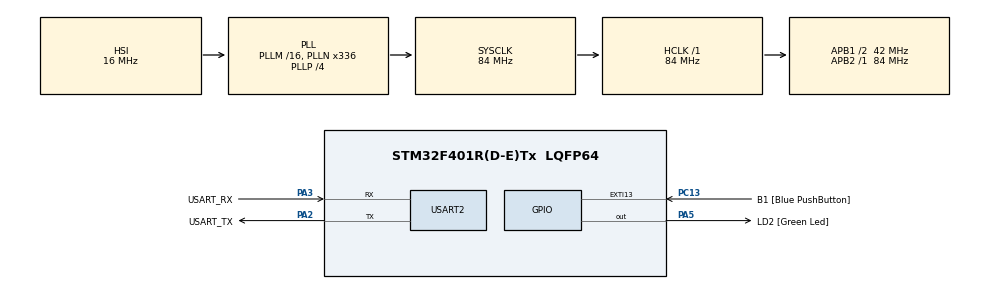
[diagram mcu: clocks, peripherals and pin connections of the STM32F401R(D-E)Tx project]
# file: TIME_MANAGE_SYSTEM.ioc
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Mcu.Family=STM32F4
Mcu.Name=STM32F401R(D-E)Tx
Mcu.Package=LQFP64
NVIC.PriorityGroup=NVIC_PRIORITYGROUP_0
PA13.GPIO_Label=TMS
PA13.Mode=Serial_Wire
PA13.Signal=SYS_JTMS-SWDIO
PA14.Mode=Serial_Wire
PA14.Signal=SYS_JTCK-SWCLK
PA2.GPIO_Label=USART_TX
PA2.GPIO_Mode=GPIO_MODE_AF_PP
PA2.GPIO_PuPd=GPIO_NOPULL
PA2.GPIO_Speed=GPIO_SPEED_FREQ_LOW
PA2.Mode=Asynchronous
PA2.Signal=USART2_TX
PA3.GPIO_Label=USART_RX
PA3.GPIO_Mode=GPIO_MODE_AF_PP
PA3.GPIO_PuPd=GPIO_NOPULL
PA3.GPIO_Speed=GPIO_SPEED_FREQ_LOW
PA3.Mode=Asynchronous
PA3.Signal=USART2_RX
PA5.GPIO_Label=LD2 [Green Led]
PA5.GPIO_Mode=GPIO_MODE_OUTPUT_PP
PA5.GPIO_PuPd=GPIO_NOPULL
PA5.GPIO_Speed=GPIO_SPEED_FREQ_LOW
PA5.Signal=GPIO_Output
PB3.GPIO_Label=SWO
PB3.Signal=SYS_JTDO-SWO
PC13-ANTI_TAMP.GPIO_Label=B1 [Blue PushButton]
PC13-ANTI_TAMP.GPIO_ModeDefaultEXTI=GPIO_MODE_IT_FALLING
PC13-ANTI_TAMP.GPIO_PuPd=GPIO_NOPULL
PC13-ANTI_TAMP.Signal=GPXTI13
PC14-OSC32_IN.Mode=LSE-External-Oscillator
PC14-OSC32_IN.Signal=RCC_OSC32_IN
PC15-OSC32_OUT.Mode=LSE-External-Oscillator
PC15-OSC32_OUT.Signal=RCC_OSC32_OUT
PH0\ -\ OSC_IN.Mode=HSE-External-Clock-Source
PH0\ -\ OSC_IN.Signal=RCC_OSC_IN
PH1\ -\ OSC_OUT.Mode=HSE-External-Clock-Source
PH1\ -\ OSC_OUT.Signal=RCC_OSC_OUT
ProjectManager.HeapSize=0x200
ProjectManager.StackSize=0x400
ProjectManager.TargetToolchain=STM32CubeIDE
RCC.48MHZClocksFreq_Value=48000000
RCC.AHBFreq_Value=84000000
RCC.APB1CLKDivider=RCC_HCLK_DIV2
RCC.APB1Freq_Value=42000000
RCC.APB1TimFreq_Value=84000000
RCC.APB2Freq_Value=84000000
RCC.APB2TimFreq_Value=84000000
RCC.CortexFreq_Value=84000000
RCC.HCLKFreq_Value=84000000
RCC.HSE_VALUE=8000000
RCC.HSI_VALUE=16000000
RCC.PLLN=336
RCC.PLLP=RCC_PLLP_DIV4
RCC.PLLQ=7
RCC.SYSCLKFreq_VALUE=84000000
RCC.SYSCLKSource=RCC_SYSCLKSOURCE_PLLCLK
RCC.VCOOutputFreq_Value=336000000
USART2.VirtualMode=VM_ASYNC
board=NUCLEO-F401RE

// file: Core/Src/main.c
/* USER CODE BEGIN Header */
/**
  ******************************************************************************
  * @file           : main.c
  * @brief          : Main program body
  ******************************************************************************
  * @attention
  *
  * Copyright (c) 2022 STMicroelectronics.
  * All rights reserved.
  *
  * This software is licensed under terms that can be found in the LICENSE file
  * in the root directory of this software component.
  * If no LICENSE file comes with this software, it is provided AS-IS.
  *
  ******************************************************************************
  */
/* USER CODE END Header */
#define STM32F401xE
#include "stdbool.h"
#include "main.h"

/* USER CODE BEGIN Includes */
#include "KEYPAD.h"
#include "rc522.h"

/* USER CODE END Includes */
#define LCD_PORT	GPIOB
#define LCD_DATA	GPIOA
#define LCD_ENA	GPIO_PIN_15
#define LCD_RST	GPIO_PIN_14
#define LCD_D4	GPIO_PIN_8
#define LCD_D5	GPIO_PIN_9
#define LCD_D6	GPIO_PIN_10
#define LCD_D7	GPIO_PIN_11
#define MAXLENGTH 6
/* USER CODE BEGIN PD */
#define FLASH_USER_START_ADDR 0x08012000
/* USER CODE END PD */

/* Base address of the Flash sectors */
#define ADDR_FLASH_SECTOR_0    ((uint32_t)0x08000000) /* Base @ of Sector 0, 16 Kbytes */
#define ADDR_FLASH_SECTOR_1    ((uint32_t)0x08004000) /* Base @ of Sector 1, 16 Kbytes */
#define ADDR_FLASH_SECTOR_2    ((uint32_t)0x08008000) /* Base @ of Sector 2, 16 Kbytes */
#define ADDR_FLASH_SECTOR_3    ((uint32_t)0x0800C000) /* Base @ of Sector 3, 16 Kbytes */
#define ADDR_FLASH_SECTOR_4    ((uint32_t)0x08010000) /* Base @ of Sector 4, 64 Kbytes */
#define ADDR_FLASH_SECTOR_5    ((uint32_t)0x08020000) /* Base @ of Sector 5, 128 Kbytes */
#define ADDR_FLASH_SECTOR_6    ((uint32_t)0x08040000) /* Base @ of Sector 6, 128 Kbytes */
#define ADDR_FLASH_SECTOR_7    ((uint32_t)0x08060000) /* Base @ of Sector 7, 128 Kbytes */
/* USER CODE BEGIN PTD */
char Key;
char DATA[MAXLENGTH+1];
char PASSWORD[6]={'0','0','0','0','0','0'};
int length = 0;
bool state = false;
int PassErr = 0;
uint32_t cardPASS[6] = {1,2,3,4,5,6};
uint32_t cardRx[6];
/* USER CODE END PTD */

UART_HandleTypeDef huart2;

/* USER CODE BEGIN PV */
void LCD_Enable()
{
    HAL_GPIO_WritePin(LCD_PORT,LCD_ENA,1);
    HAL_Delay(1);
    HAL_GPIO_WritePin(LCD_PORT,LCD_ENA,0);
    HAL_Delay(1);
}

void LCD_Send4Bit(unsigned char Data)
{
    HAL_GPIO_WritePin(LCD_DATA,LCD_D4,Data&0x01);
    HAL_GPIO_WritePin(LCD_DATA,LCD_D5,(Data>>1)&0x01);
    HAL_GPIO_WritePin(LCD_DATA,LCD_D6,(Data>>2)&0x01);
    HAL_GPIO_WritePin(LCD_DATA,LCD_D7,(Data>>3)&0x01);
}

void LCD_SendCommand(unsigned char command)
{
    LCD_Send4Bit(command >>4);
    LCD_Enable();
    LCD_Send4Bit(command);
    LCD_Enable();
}

void LCD_Clear()
{
    LCD_SendCommand(0x01);
    HAL_Delay(1);
}

void LCD_Init()
{
    LCD_Send4Bit(0x00);
    HAL_GPIO_WritePin(LCD_PORT,LCD_RST,0);
    LCD_Send4Bit(0x03);
    LCD_Enable();
    LCD_Enable();
    LCD_Enable();
    LCD_Send4Bit(0x02);
    LCD_Enable();
    LCD_SendCommand(0x28);
    LCD_SendCommand(0x0C);
    LCD_SendCommand(0x06);
    LCD_SendCommand(0x01);
}

void LCD_Gotoxy(unsigned char x, unsigned char y)
{
unsigned char address;
if(y==0)
address=0x80;
else if(y==1)
{
address=0xc0;
}
else if(y==2)
{
address=0x94;
}
else
address=0xd4;
address+=x;
LCD_SendCommand(address);
}

void LCD_PutChar(unsigned char Data)
{
  HAL_GPIO_WritePin(LCD_PORT,LCD_RST,1);
     LCD_SendCommand(Data);
  HAL_GPIO_WritePin(LCD_PORT,LCD_RST,0);
}

void LCD_Puts(char *s)
{
       while (*s){
          LCD_PutChar(*s);
         s++;
       }
}

KEYPAD_Name KeyPad;
char KEYMAP[NUMROWS][NUMCOLS]={
    {'1','2','3','A'},
    {'4','5','6','B'},
    {'7','8','9','C'},
    {'*','0','#','D'},
};

uint16_t CheckPassWord (char DATA[MAXLENGTH],char PASS[MAXLENGTH]){
    if (length!=6) return 0;
    for (int i=0;i<MAXLENGTH;i++){
        if (DATA[i] != PASS[i]) return 0;
    }
    return 1;
}

uint16_t ClearPassWord (){
    for (int i=0;i<MAXLENGTH;i++){
        DATA[i] = -1;
    }
    length = 0;
}
uint8_t  str[5];
int card[100]={536874093,536874735};
int cardNum;

int converCardNum(uint8_t* CardID){
    int cardNum;
    for (int i = 0; i < 5; i++) {
            cardNum+=CardID[i]<<i;
    }
    return cardNum;
}
/* USER CODE END PV */

void SystemClock_Config(void);
static void MX_GPIO_Init(void);
static void MX_USART2_UART_Init(void);

/* USER CODE BEGIN 0 */

/**
 * @brief Gets the sector of a given address
 * @param None
 * @retval The sector of a given address
 */
uint32_t GetSector(uint32_t Address)
{
 uint32_t sector = 0;

 if((Address < ADDR_FLASH_SECTOR_1) && (Address >= ADDR_FLASH_SECTOR_0))
 {
   sector = FLASH_SECTOR_0;
 }
 else if((Address < ADDR_FLASH_SECTOR_2) && (Address >= ADDR_FLASH_SECTOR_1))
 {
   sector = FLASH_SECTOR_1;
 }
 else if((Address < ADDR_FLASH_SECTOR_3) && (Address >= ADDR_FLASH_SECTOR_2))
 {
   sector = FLASH_SECTOR_2;
 }
 else if((Address < ADDR_FLASH_SECTOR_4) && (Address >= ADDR_FLASH_SECTOR_3))
 {
   sector = FLASH_SECTOR_3;
 }
 else if((Address < ADDR_FLASH_SECTOR_5) && (Address >= ADDR_FLASH_SECTOR_4))
 {
   sector = FLASH_SECTOR_4;
 }
 else if((Address < ADDR_FLASH_SECTOR_6) && (Address >= ADDR_FLASH_SECTOR_5))
 {
   sector = FLASH_SECTOR_5;
 }
 else if((Address < ADDR_FLASH_SECTOR_7) && (Address >= ADDR_FLASH_SECTOR_6))
 {
   sector = FLASH_SECTOR_6;
 }
 else if((Address < 0x0807FFFF) && (Address >= ADDR_FLASH_SECTOR_7))
 {
   sector = FLASH_SECTOR_7;
 }
 else
 {
    sector = HAL_FLASH_GetError();
 }
 return sector;
}

uint32_t Flash_Write_Data (uint32_t FlashUserStartAdd, uint32_t *Data, uint16_t numberofwords)
{
    uint32_t retval = 0;
    static FLASH_EraseInitTypeDef EraseInitStruct;
    uint32_t SectorError;
    uint32_t FlashUserEndAdd;
    int sofar=0;
    uint32_t FirstSector;
    uint32_t NbOfSector;

    FlashUserEndAdd = FlashUserStartAdd + numberofwords*4;

    /* Unlock the Flash to enable the flash control register access *************/
    HAL_FLASH_Unlock();

    /* Xóa vùng Flash người sử dụng
    (xác định bởi FlashUserStartAdd và FLASH_USER_END_ADDR) ***********/
    /* Nhận vùng đầu tiên để xóa */
    FirstSector = GetSector(FlashUserStartAdd);
    /* Lấy số lượng sector để xóa từ sector 1 vừa nhận*/
    NbOfSector = GetSector(FlashUserEndAdd) - FirstSector + 1;
    /* Cấu trúc khởi tạo Xóa*/
    EraseInitStruct.TypeErase = FLASH_TYPEERASE_SECTORS;
    EraseInitStruct.VoltageRange = FLASH_VOLTAGE_RANGE_3;
    /* với hiệu điện thế nằm giữa 2,7V và 3,6V ta truyền vào VoltageRange_3*/
    EraseInitStruct.Sector = FirstSector;
    EraseInitStruct.NbSectors = NbOfSector;
    if(HAL_FLASHEx_Erase(&EraseInitStruct, &SectorError) != HAL_OK)
    {
        /* Xảy ra lỗi tròn khi xóa Sector sẽ cần thêm một số code để xử lý lỗi này
        SectorError sẽ chứa sector bị lỗi,và sau đó để biết mã lỗi trên sector này
        bạn cần gọi hàm 'HAL_FLASH_GetError()'*/
        retval = HAL_FLASH_GetError();
    }

    /* Program the user Flash area word by word*/

    while (sofar<numberofwords)
    {
        if (HAL_FLASH_Program(FLASH_TYPEPROGRAM_WORD, FlashUserStartAdd, Data[sofar]) == HAL_OK)
        {
            FlashUserStartAdd += 4;  // use FlashUserStartAdd += 2 for half word and 8 for double word
            sofar++;
        }
        else
        {
        /* Error occurred while writing data in Flash memory*/
            return HAL_FLASH_GetError();
        }
    }

    /* Lock the Flash to disable the flash control register access (recommended
        to protect the FLASH memory against possible unwanted operation) *********/
    HAL_FLASH_Lock();

    return 0;
}

void Flash_Read_Data (uint32_t FlashUserStartAdd, uint32_t *RxBuf, uint16_t numberofwords)
{
    while (1)
    {
        *RxBuf = *(__IO uint32_t *)FlashUserStartAdd;
        FlashUserStartAdd += 4;
        RxBuf++;
        if (!(numberofwords--)) break;
    }
}

/* USER CODE END 0 */

int main(void)
{

  /* MCU Configuration--------------------------------------------------------*/

  /* Reset of all peripherals, Initializes the Flash interface and the Systick. */
  HAL_Init();

  /* Configure the system clock */
  SystemClock_Config();

  /* Initialize all configured peripherals */
  MX_GPIO_Init();
  MX_USART2_UART_Init();
  /* USER CODE BEGIN 2 */
    KEYPAD4X4_Init(&KeyPad,KEYMAP,GPIOB,GPIO_PIN_5,GPIOB,GPIO_PIN_4,GPIOB,GPIO_PIN_3,GPIOA,GPIO_PIN_15
                                                                ,GPIOB,GPIO_PIN_9,GPIOB,GPIO_PIN_8,GPIOB,GPIO_PIN_7,GPIOB,GPIO_PIN_6);
    TM_MFRC522_Init();
    LCD_Init();
    LCD_Clear();
    LCD_Gotoxy(0,0);
    LCD_Puts("Trang thai");
    LCD_Gotoxy(0,1);
    LCD_Puts("Dong Cua");
  /* USER CODE END 2 */

  /* Infinite loop */
  /* USER CODE BEGIN WHILE */
  while (1)
  {
        Key = KEYPAD4X4_Readkey(&KeyPad);
        if (Key){
                char PASS[MAXLENGTH];
                LCD_Clear();
                LCD_Gotoxy(0,0);
                LCD_Puts("Nhap mat khau ");
                switch(Key){
                    case 'A':
                    {
                        Flash_Write_Data(FLASH_USER_START_ADDR,(uint32_t *)cardPASS,6);
                        Flash_Read_Data(FLASH_USER_START_ADDR,(uint32_t *)cardRx,6);
                        break;
                    }
                    case 'B':{
                        if (length<=0)break;
                        LCD_Clear();
                        if (PassErr>=3){
                            HAL_GPIO_WritePin(GPIOC,GPIO_PIN_14,1);
                            LCD_Gotoxy(0,0);
                            LCD_Puts("Canh bao");
                            HAL_Delay(5000);
                            ClearPassWord();
                            HAL_GPIO_WritePin(GPIOC,GPIO_PIN_14,0);
                            LCD_Gotoxy(0,0);
                            LCD_Puts("Trang thai");
                            LCD_Gotoxy(0,1);
                            LCD_Puts("Dong cua");
                            PassErr=0;
                            break;
                        }
                        if (CheckPassWord(DATA,PASSWORD)){
                            PassErr = 0;
                            HAL_GPIO_WritePin(GPIOC,GPIO_PIN_13,1);
                            LCD_Gotoxy(0,0);
                            LCD_Puts("Trang thai: ");
                            LCD_Gotoxy(0,1);
                            LCD_Puts("Mo cua");
                            HAL_Delay(5000);
                            HAL_GPIO_WritePin(GPIOC,GPIO_PIN_13,0);
                            LCD_Clear();
                            LCD_Gotoxy(0,0);
                            LCD_Puts("Trang thai: ");
                            LCD_Gotoxy(0,1);
                            LCD_Puts("Dong cua");
                            ClearPassWord();
                        }
                        else{
                            PassErr = PassErr+1;
                            LCD_Gotoxy(0,0);
                            LCD_Puts("Nhap sai mat khau");
                            HAL_Delay(2000);
                            LCD_Clear();
                            ClearPassWord();
                            LCD_Gotoxy(0,0);
                            LCD_Puts("Trang thai");
                            LCD_Gotoxy(0,1);
                            LCD_Puts("Dong cua");
                            length = 0;
                        }
                        break;
                    }
                    case 'D':{
                        if (length>0) {
                            DATA[length-1] = NULL;
                            length=length-1;
                            LCD_Clear();
                            LCD_Gotoxy(0,0);
                            LCD_Puts("Nhap mat khau");
                            LCD_Gotoxy(0,1);
                            sprintf(PASS,"%s",DATA);
                            LCD_Puts(DATA);
                        }
                        else{
                            LCD_Clear();
                            ClearPassWord();
                            LCD_Gotoxy(0,0);
                            LCD_Puts("Trang thai");
                            LCD_Gotoxy(0,1);
                            LCD_Puts("Dong cua");
                        }
                        break;
                    }
                    case 'C':{
                        if (length<=0)break;
                        LCD_Clear();
                        ClearPassWord();
                        LCD_Gotoxy(0,0);
                        LCD_Puts("Trang thai");
                        LCD_Gotoxy(0,1);
                        LCD_Puts("Dong cua");
                        length = 0;
                        break;
                    }
                    default:{
                        if (length>=MAXLENGTH){
                            LCD_Gotoxy(0,0);
                            LCD_Puts("Nhap sai mat khau");
                            HAL_Delay(2000);
                            LCD_Clear();
                            ClearPassWord();
                            LCD_Gotoxy(0,0);
                            LCD_Puts("Trang thai");
                            LCD_Gotoxy(0,1);
                            LCD_Puts("Dong cua");
                            length = 0;
                            break;
                        }
                        DATA[length] = Key;
                        length = length+1;
                        LCD_Gotoxy(0,1);
                        sprintf(PASS,"%s",DATA);
                        LCD_Puts(DATA);
                        break;
                    }
                }
        }
        if(length==0 && !TM_MFRC522_Request(PICC_REQIDL,str)){
            if(!TM_MFRC522_Anticoll(str)){
                char code[100];
                cardNum = converCardNum(str);
                LCD_Clear();
                LCD_Gotoxy(0,0);
                LCD_Puts("Dang doc the");
            //	LCD_Gotoxy(0,1);
                //LCD_Puts("Dang doc the");
            //	sprintf(code,"%d",cardNum);
            //	LCD_Puts(code);
            //	HAL_Delay(50);
                for(int i=0;i<100;i++){
                    if (cardNum==card[i]){
                        HAL_GPIO_WritePin(GPIOC,GPIO_PIN_13,1);
                        LCD_Clear();
                        LCD_Gotoxy(0,0);
                        LCD_Puts("Trang thai");
                        LCD_Gotoxy(0,1);
                        LCD_Puts("Mo cua");
                        HAL_Delay(5000);
                        cardNum=0;
                        HAL_GPIO_WritePin(GPIOC,GPIO_PIN_13,0);
                        break;
                    }
                }
                HAL_Delay(1000);
                LCD_Clear();
                LCD_Gotoxy(0,0);
                LCD_Puts("Trang thai");
                LCD_Gotoxy(0,1);
                LCD_Puts("Dong Cua");
            }
        }
        HAL_Delay(10);
    /* USER CODE END WHILE */

  }
}

void SystemClock_Config(void)
{
  RCC_OscInitTypeDef RCC_OscInitStruct = {0};
  RCC_ClkInitTypeDef RCC_ClkInitStruct = {0};

  /** Configure the main internal regulator output voltage
  */
  __HAL_RCC_PWR_CLK_ENABLE();
  __HAL_PWR_VOLTAGESCALING_CONFIG(PWR_REGULATOR_VOLTAGE_SCALE2);
  /** Initializes the RCC Oscillators according to the specified parameters
  * in the RCC_OscInitTypeDef structure.
  */
  RCC_OscInitStruct.OscillatorType = RCC_OSCILLATORTYPE_HSI;
  RCC_OscInitStruct.HSIState = RCC_HSI_ON;
  RCC_OscInitStruct.HSICalibrationValue = RCC_HSICALIBRATION_DEFAULT;
  RCC_OscInitStruct.PLL.PLLState = RCC_PLL_ON;
  RCC_OscInitStruct.PLL.PLLSource = RCC_PLLSOURCE_HSI;
  RCC_OscInitStruct.PLL.PLLM = 16;
  RCC_OscInitStruct.PLL.PLLN = 336;
  RCC_OscInitStruct.PLL.PLLP = RCC_PLLP_DIV4;
  RCC_OscInitStruct.PLL.PLLQ = 7;
  if (HAL_RCC_OscConfig(&RCC_OscInitStruct) != HAL_OK)
  {
    Error_Handler();
  }
  /** Initializes the CPU, AHB and APB buses clocks
  */
  RCC_ClkInitStruct.ClockType = RCC_CLOCKTYPE_HCLK|RCC_CLOCKTYPE_SYSCLK
                              |RCC_CLOCKTYPE_PCLK1|RCC_CLOCKTYPE_PCLK2;
  RCC_ClkInitStruct.SYSCLKSource = RCC_SYSCLKSOURCE_PLLCLK;
  RCC_ClkInitStruct.AHBCLKDivider = RCC_SYSCLK_DIV1;
  RCC_ClkInitStruct.APB1CLKDivider = RCC_HCLK_DIV2;
  RCC_ClkInitStruct.APB2CLKDivider = RCC_HCLK_DIV1;

  if (HAL_RCC_ClockConfig(&RCC_ClkInitStruct, FLASH_LATENCY_2) != HAL_OK)
  {
    Error_Handler();
  }
}

static void MX_USART2_UART_Init(void)
{

  huart2.Instance = USART2;
  huart2.Init.BaudRate = 115200;
  huart2.Init.WordLength = UART_WORDLENGTH_8B;
  huart2.Init.StopBits = UART_STOPBITS_1;
  huart2.Init.Parity = UART_PARITY_NONE;
  huart2.Init.Mode = UART_MODE_TX_RX;
  huart2.Init.HwFlowCtl = UART_HWCONTROL_NONE;
  huart2.Init.OverSampling = UART_OVERSAMPLING_16;
  if (HAL_UART_Init(&huart2) != HAL_OK)
  {
    Error_Handler();
  }

}

static void MX_GPIO_Init(void)
{
  GPIO_InitTypeDef GPIO_InitStruct = {0};

  /* GPIO Ports Clock Enable */
  __HAL_RCC_GPIOC_CLK_ENABLE();
  __HAL_RCC_GPIOH_CLK_ENABLE();
  __HAL_RCC_GPIOA_CLK_ENABLE();
  __HAL_RCC_GPIOB_CLK_ENABLE();

  /*Configure GPIO pin Output Level */
  HAL_GPIO_WritePin(LD2_GPIO_Port, LD2_Pin, GPIO_PIN_RESET);

  /*Configure GPIO pin : B1_Pin */
  GPIO_InitStruct.Pin = B1_Pin;
  GPIO_InitStruct.Mode = GPIO_MODE_IT_FALLING;
  GPIO_InitStruct.Pull = GPIO_NOPULL;
  HAL_GPIO_Init(B1_GPIO_Port, &GPIO_InitStruct);

  /*Configure GPIO pin : LD2_Pin */
  GPIO_InitStruct.Pin = LD2_Pin;
  GPIO_InitStruct.Mode = GPIO_MODE_OUTPUT_PP;
  GPIO_InitStruct.Pull = GPIO_NOPULL;
  GPIO_InitStruct.Speed = GPIO_SPEED_FREQ_LOW;
  HAL_GPIO_Init(LD2_GPIO_Port, &GPIO_InitStruct);

}

void Error_Handler(void)
{
  __disable_irq();
  while (1)
  {
  }
}

/************************ (C) COPYRIGHT STMicroelectronics *****END OF FILE****/
